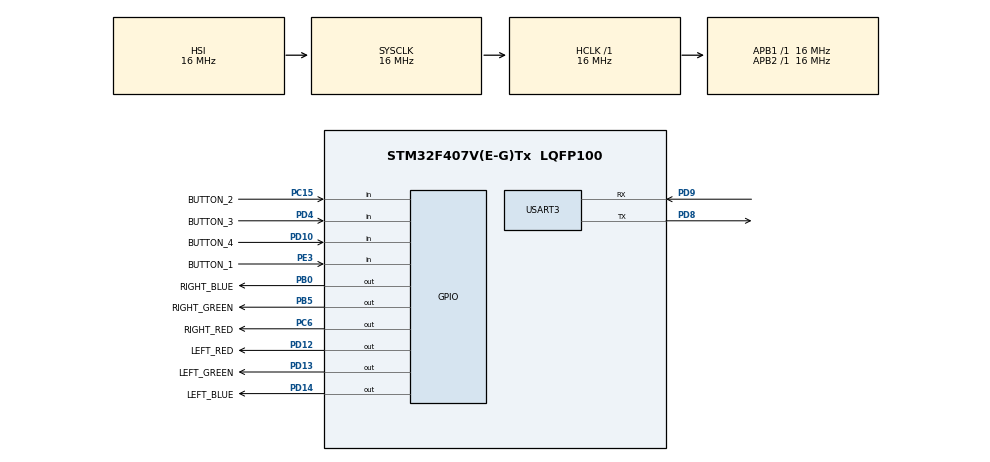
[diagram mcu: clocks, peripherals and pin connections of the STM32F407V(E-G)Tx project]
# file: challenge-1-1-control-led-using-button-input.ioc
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Mcu.Family=STM32F4
Mcu.Name=STM32F407V(E-G)Tx
Mcu.Package=LQFP100
NVIC.PriorityGroup=NVIC_PRIORITYGROUP_4
NVIC.USART3_IRQn=true\:0\:0\:false\:false\:true\:true\:true\:true
PB0.GPIO_Label=RIGHT_BLUE
PB0.GPIO_ModeDefaultOutputPP=GPIO_MODE_OUTPUT_PP
PB0.GPIO_PuPd=GPIO_NOPULL
PB0.GPIO_Speed=GPIO_SPEED_FREQ_LOW
PB0.PinState=GPIO_PIN_SET
PB0.Signal=GPIO_Output
PB5.GPIO_Label=RIGHT_GREEN
PB5.GPIO_ModeDefaultOutputPP=GPIO_MODE_OUTPUT_PP
PB5.GPIO_PuPd=GPIO_NOPULL
PB5.GPIO_Speed=GPIO_SPEED_FREQ_LOW
PB5.PinState=GPIO_PIN_SET
PB5.Signal=GPIO_Output
PC15-OSC32_OUT.GPIO_Label=BUTTON_2
PC15-OSC32_OUT.GPIO_Mode=GPIO_MODE_INPUT
PC15-OSC32_OUT.GPIO_PuPd=GPIO_NOPULL
PC15-OSC32_OUT.Signal=GPIO_Input
PC6.GPIO_Label=RIGHT_RED
PC6.GPIO_ModeDefaultOutputPP=GPIO_MODE_OUTPUT_PP
PC6.GPIO_PuPd=GPIO_NOPULL
PC6.GPIO_Speed=GPIO_SPEED_FREQ_LOW
PC6.PinState=GPIO_PIN_SET
PC6.Signal=GPIO_Output
PD10.GPIO_Label=BUTTON_4
PD10.GPIO_Mode=GPIO_MODE_INPUT
PD10.GPIO_PuPd=GPIO_NOPULL
PD10.Signal=GPIO_Input
PD12.GPIO_Label=LEFT_RED
PD12.GPIO_ModeDefaultOutputPP=GPIO_MODE_OUTPUT_PP
PD12.GPIO_PuPd=GPIO_NOPULL
PD12.GPIO_Speed=GPIO_SPEED_FREQ_LOW
PD12.PinState=GPIO_PIN_SET
PD12.Signal=GPIO_Output
PD13.GPIO_Label=LEFT_GREEN
PD13.GPIO_ModeDefaultOutputPP=GPIO_MODE_OUTPUT_PP
PD13.GPIO_PuPd=GPIO_NOPULL
PD13.GPIO_Speed=GPIO_SPEED_FREQ_LOW
PD13.PinState=GPIO_PIN_SET
PD13.Signal=GPIO_Output
PD14.GPIO_Label=LEFT_BLUE
PD14.GPIO_ModeDefaultOutputPP=GPIO_MODE_OUTPUT_PP
PD14.GPIO_PuPd=GPIO_NOPULL
PD14.GPIO_Speed=GPIO_SPEED_FREQ_LOW
PD14.PinState=GPIO_PIN_SET
PD14.Signal=GPIO_Output
PD4.GPIO_Label=BUTTON_3
PD4.GPIO_Mode=GPIO_MODE_INPUT
PD4.GPIO_PuPd=GPIO_NOPULL
PD4.Signal=GPIO_Input
PD8.Mode=Asynchronous
PD8.Signal=USART3_TX
PD9.Mode=Asynchronous
PD9.Signal=USART3_RX
PE3.GPIO_Label=BUTTON_1
PE3.GPIO_Mode=GPIO_MODE_INPUT
PE3.GPIO_PuPd=GPIO_NOPULL
PE3.Signal=GPIO_Input
ProjectManager.HeapSize=0x200
ProjectManager.StackSize=0x400
ProjectManager.TargetToolchain=STM32CubeIDE
RCC.AHBFreq_Value=16000000
RCC.APB1Freq_Value=16000000
RCC.APB2Freq_Value=16000000
RCC.CortexFreq_Value=16000000
RCC.HSE_VALUE=25000000
RCC.HSI_VALUE=16000000
RCC.LSE_VALUE=32768
RCC.SYSCLKFreq_VALUE=16000000
RCC.VCOOutputFreq_Value=192000000
USART3.VirtualMode=VM_ASYNC
board=custom

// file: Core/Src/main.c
/* USER CODE BEGIN Header */
/**
  ******************************************************************************
  * @file           : main.c
  * @brief          : Main program body
  ******************************************************************************
  * @attention
  *
  * Copyright (c) 2025 STMicroelectronics.
  * All rights reserved.
  *
  * This software is licensed under terms that can be found in the LICENSE file
  * in the root directory of this software component.
  * If no LICENSE file comes with this software, it is provided AS-IS.
  *
  ******************************************************************************
  */
/* USER CODE END Header */
#include "main.h"

/* USER CODE BEGIN Includes */
#include "general_input_class.h"
#include "general_output_class.h"
/* USER CODE END Includes */

UART_HandleTypeDef huart3;

void SystemClock_Config(void);
static void MX_GPIO_Init(void);
static void MX_USART3_UART_Init(void);

int main(void)
{

  /* MCU Configuration--------------------------------------------------------*/

  /* Reset of all peripherals, Initializes the Flash interface and the Systick. */
  HAL_Init();

  /* Configure the system clock */
  SystemClock_Config();

  /* Initialize all configured peripherals */
  MX_GPIO_Init();
  MX_USART3_UART_Init();

  /* Infinite loop */
  /* USER CODE BEGIN WHILE */
  IOutput* left_red   = new_GeneralOutput(LEFT_RED_GPIO_Port,   LEFT_RED_Pin  );
  IOutput* left_green = new_GeneralOutput(LEFT_GREEN_GPIO_Port, LEFT_GREEN_Pin);
  IOutput* left_blue  = new_GeneralOutput(LEFT_BLUE_GPIO_Port,  LEFT_BLUE_Pin );

  IOutput* right_red    = new_GeneralOutput(RIGHT_RED_GPIO_Port,    RIGHT_RED_Pin   );
  IOutput* right_green  = new_GeneralOutput(RIGHT_GREEN_GPIO_Port,  RIGHT_GREEN_Pin );
  IOutput* right_blue   = new_GeneralOutput(RIGHT_BLUE_GPIO_Port,   RIGHT_BLUE_Pin  );

  IInput* left_button_1 = new_GeneralInput(BUTTON_1_GPIO_Port, BUTTON_1_Pin, NOMAL_CLOSE, left_red  );
  IInput* left_button_2 = new_GeneralInput(BUTTON_2_GPIO_Port, BUTTON_2_Pin, NOMAL_CLOSE, left_green);
  IInput* left_button_3 = new_GeneralInput(BUTTON_3_GPIO_Port, BUTTON_3_Pin, NOMAL_CLOSE, left_blue );

  IInput* right_button_1 = new_GeneralInput(BUTTON_1_GPIO_Port, BUTTON_1_Pin, NOMAL_CLOSE, right_red  );
  IInput* right_button_2 = new_GeneralInput(BUTTON_2_GPIO_Port, BUTTON_2_Pin, NOMAL_CLOSE, right_green);
  IInput* right_button_3 = new_GeneralInput(BUTTON_3_GPIO_Port, BUTTON_3_Pin, NOMAL_CLOSE, right_blue );

  while (1)
  {
	  left_button_1->update(left_button_1);
	  left_button_2->update(left_button_2);
	  left_button_3->update(left_button_3);

	  right_button_1->update(right_button_1);
	  right_button_2->update(right_button_2);
	  right_button_3->update(right_button_3);

	  left_button_1->on_rising_edge(left_button_1);
	  left_button_2->on_rising_edge(left_button_2);
	  left_button_3->on_rising_edge(left_button_3);

	  right_button_1->on_falling_edge(right_button_1);
	  right_button_2->on_falling_edge(right_button_2);
	  right_button_3->on_falling_edge(right_button_3);

    /* USER CODE END WHILE */

  }
}

void SystemClock_Config(void)
{
  RCC_OscInitTypeDef RCC_OscInitStruct = {0};
  RCC_ClkInitTypeDef RCC_ClkInitStruct = {0};

  /** Configure the main internal regulator output voltage
  */
  __HAL_RCC_PWR_CLK_ENABLE();
  __HAL_PWR_VOLTAGESCALING_CONFIG(PWR_REGULATOR_VOLTAGE_SCALE1);

  /** Initializes the RCC Oscillators according to the specified parameters
  * in the RCC_OscInitTypeDef structure.
  */
  RCC_OscInitStruct.OscillatorType = RCC_OSCILLATORTYPE_HSI;
  RCC_OscInitStruct.HSIState = RCC_HSI_ON;
  RCC_OscInitStruct.HSICalibrationValue = RCC_HSICALIBRATION_DEFAULT;
  RCC_OscInitStruct.PLL.PLLState = RCC_PLL_NONE;
  if (HAL_RCC_OscConfig(&RCC_OscInitStruct) != HAL_OK)
  {
    Error_Handler();
  }

  /** Initializes the CPU, AHB and APB buses clocks
  */
  RCC_ClkInitStruct.ClockType = RCC_CLOCKTYPE_HCLK|RCC_CLOCKTYPE_SYSCLK
                              |RCC_CLOCKTYPE_PCLK1|RCC_CLOCKTYPE_PCLK2;
  RCC_ClkInitStruct.SYSCLKSource = RCC_SYSCLKSOURCE_HSI;
  RCC_ClkInitStruct.AHBCLKDivider = RCC_SYSCLK_DIV1;
  RCC_ClkInitStruct.APB1CLKDivider = RCC_HCLK_DIV1;
  RCC_ClkInitStruct.APB2CLKDivider = RCC_HCLK_DIV1;

  if (HAL_RCC_ClockConfig(&RCC_ClkInitStruct, FLASH_LATENCY_0) != HAL_OK)
  {
    Error_Handler();
  }
}

static void MX_USART3_UART_Init(void)
{

  huart3.Instance = USART3;
  huart3.Init.BaudRate = 115200;
  huart3.Init.WordLength = UART_WORDLENGTH_8B;
  huart3.Init.StopBits = UART_STOPBITS_1;
  huart3.Init.Parity = UART_PARITY_NONE;
  huart3.Init.Mode = UART_MODE_TX_RX;
  huart3.Init.HwFlowCtl = UART_HWCONTROL_NONE;
  huart3.Init.OverSampling = UART_OVERSAMPLING_16;
  if (HAL_UART_Init(&huart3) != HAL_OK)
  {
    Error_Handler();
  }

}

static void MX_GPIO_Init(void)
{
  GPIO_InitTypeDef GPIO_InitStruct = {0};

  /* GPIO Ports Clock Enable */
  __HAL_RCC_GPIOE_CLK_ENABLE();
  __HAL_RCC_GPIOC_CLK_ENABLE();
  __HAL_RCC_GPIOB_CLK_ENABLE();
  __HAL_RCC_GPIOD_CLK_ENABLE();

  /*Configure GPIO pin Output Level */
  HAL_GPIO_WritePin(GPIOB, RIGHT_BLUE_Pin|RIGHT_GREEN_Pin, GPIO_PIN_SET);

  /*Configure GPIO pin Output Level */
  HAL_GPIO_WritePin(GPIOD, LEFT_RED_Pin|LEFT_GREEN_Pin|LEFT_BLUE_Pin, GPIO_PIN_SET);

  /*Configure GPIO pin Output Level */
  HAL_GPIO_WritePin(RIGHT_RED_GPIO_Port, RIGHT_RED_Pin, GPIO_PIN_SET);

  /*Configure GPIO pin : BUTTON_1_Pin */
  GPIO_InitStruct.Pin = BUTTON_1_Pin;
  GPIO_InitStruct.Mode = GPIO_MODE_INPUT;
  GPIO_InitStruct.Pull = GPIO_NOPULL;
  HAL_GPIO_Init(BUTTON_1_GPIO_Port, &GPIO_InitStruct);

  /*Configure GPIO pin : BUTTON_2_Pin */
  GPIO_InitStruct.Pin = BUTTON_2_Pin;
  GPIO_InitStruct.Mode = GPIO_MODE_INPUT;
  GPIO_InitStruct.Pull = GPIO_NOPULL;
  HAL_GPIO_Init(BUTTON_2_GPIO_Port, &GPIO_InitStruct);

  /*Configure GPIO pins : RIGHT_BLUE_Pin RIGHT_GREEN_Pin */
  GPIO_InitStruct.Pin = RIGHT_BLUE_Pin|RIGHT_GREEN_Pin;
  GPIO_InitStruct.Mode = GPIO_MODE_OUTPUT_PP;
  GPIO_InitStruct.Pull = GPIO_NOPULL;
  GPIO_InitStruct.Speed = GPIO_SPEED_FREQ_LOW;
  HAL_GPIO_Init(GPIOB, &GPIO_InitStruct);

  /*Configure GPIO pins : BUTTON_4_Pin BUTTON_3_Pin */
  GPIO_InitStruct.Pin = BUTTON_4_Pin|BUTTON_3_Pin;
  GPIO_InitStruct.Mode = GPIO_MODE_INPUT;
  GPIO_InitStruct.Pull = GPIO_NOPULL;
  HAL_GPIO_Init(GPIOD, &GPIO_InitStruct);

  /*Configure GPIO pins : LEFT_RED_Pin LEFT_GREEN_Pin LEFT_BLUE_Pin */
  GPIO_InitStruct.Pin = LEFT_RED_Pin|LEFT_GREEN_Pin|LEFT_BLUE_Pin;
  GPIO_InitStruct.Mode = GPIO_MODE_OUTPUT_PP;
  GPIO_InitStruct.Pull = GPIO_NOPULL;
  GPIO_InitStruct.Speed = GPIO_SPEED_FREQ_LOW;
  HAL_GPIO_Init(GPIOD, &GPIO_InitStruct);

  /*Configure GPIO pin : RIGHT_RED_Pin */
  GPIO_InitStruct.Pin = RIGHT_RED_Pin;
  GPIO_InitStruct.Mode = GPIO_MODE_OUTPUT_PP;
  GPIO_InitStruct.Pull = GPIO_NOPULL;
  GPIO_InitStruct.Speed = GPIO_SPEED_FREQ_LOW;
  HAL_GPIO_Init(RIGHT_RED_GPIO_Port, &GPIO_InitStruct);

}

void Error_Handler(void)
{
  __disable_irq();
  while (1)
  {
  }
}
